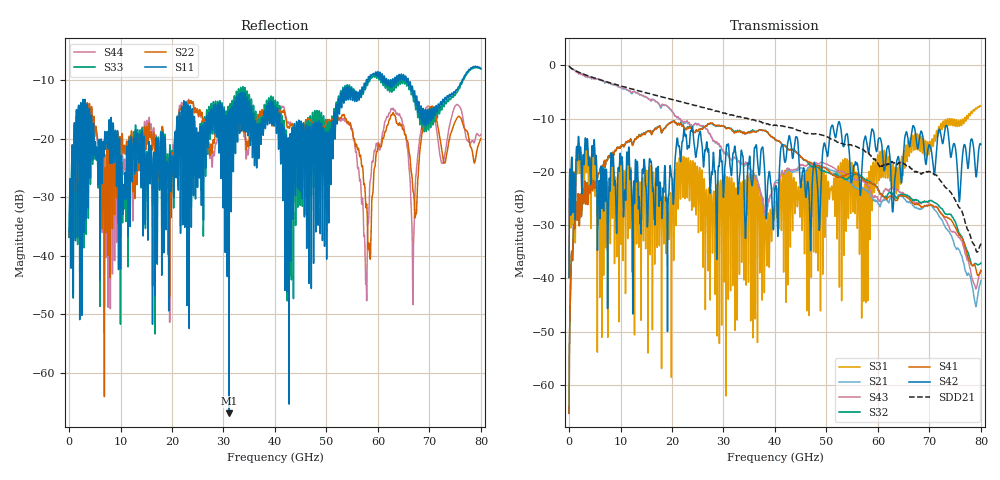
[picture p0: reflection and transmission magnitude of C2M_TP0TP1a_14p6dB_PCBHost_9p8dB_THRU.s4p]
!! Reference: shanbhag_3dj_03_2305.pdf
!! CHANNEL DESCRIPTION: TP0_TP1a C2M Channel, PCB Host
!! MODEL DESCRIPTION: s4p, THRU
!! CONNECTOR DESCRIPTION: OSFP 200G SMT
!! MODEL STATUS: Developmental
!! PORT DEFINITIONS:
!! Port  1  ----->  Side A  Side B  <-----  Port  2
!! Port  3  ----->  Side A  Side B  <-----  Port  4
# HZ S MA R 50.000000
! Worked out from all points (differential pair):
!   8000 points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, 10 MHz to 80 GHz, reference 50 ohm
!   strongest paths, dB at 10 MHz, 20.01 GHz, 40.01 GHz, 60.01 GHz, 80 GHz:
!     S42: -39.8, -21.4, -23.0, -14.3, -14.9
!     S41: -65.3, -10.6, -13.9, -23.4, -38.5
!     S32: -65.3, -10.5, -13.9, -23.3, -37.1
!     S43: -0.1, -8.6, -22.2, -25.3, -38.5
!     S21: -0.1, -8.7, -21.9, -25.9, -40.4
!     S31: -39.9, -23.7, -26.6, -17.0, -7.6
!   taken as a pair (ports 3,1 in; 4,2 out), SDD21 dB: -0.1, -6.4, -11.2, -18.5, -33.5
!   lowest |S11| = -66.9 dB at 31.11 GHz (marker M1), VSWR 1.00, Z = 50 - j0.0404 ohm
!   |S11| at or under -10 dB: start of sweep to 57.74 GHz; 62.08 GHz to 62.45 GHz (365.1 MHz wide, 0.586 % of centre); 65.89 GHz to 76.36 GHz (10.46 GHz wide, 14.7 % of centre) (the widest 3 of 15)
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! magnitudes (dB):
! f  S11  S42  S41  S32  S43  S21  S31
! 10 MHz  -36.8  -39.8  -65.3  -65.3  -0.1  -0.1  -39.9
! 2.86 GHz  -22.3  -17.7  -25.8  -25.7  -1.7  -1.7  -19.7
! 31.11 GHz  -66.9  -16.8  -11.7  -11.7  -17.2  -17.3  -21.3
! 57.61 GHz  -11.1  -13.3  -21.9  -21.5  -22.2  -23.5  -36.2
! 62.59 GHz  -10.7  -22.5  -24.6  -24.1  -23.2  -24.7  -18.7
! 66.77 GHz  -11.6  -11.4  -25.9  -25.3  -25.4  -26.3  -13.2
! 80 GHz  -8.1  -14.9  -38.5  -37.1  -38.5  -40.4  -7.6
